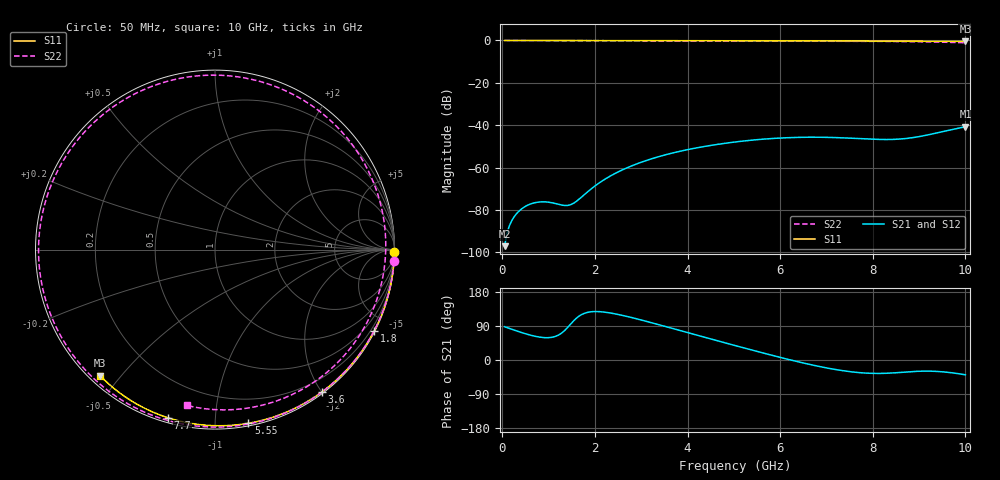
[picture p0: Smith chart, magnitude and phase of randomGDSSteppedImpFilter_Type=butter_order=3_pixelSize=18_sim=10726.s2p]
! freq	dB(S11)	phase(S11)	dB(S12)	phase(S12)
!  dB(S21)	phase(S21)	dB(S22)	phase(S22)
!S-par simulation data
#  GHz  S  DB  R 50
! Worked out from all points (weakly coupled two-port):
!   200 points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, 50 MHz to 10 GHz, reference 50 ohm
!   highest |S21| = -40.73 dB at 10 GHz (marker M1); lowest = -97.1 dB at 50 MHz (marker M2)
!   lowest |S11| = -0.4 dB at 10 GHz (marker M3), VSWR 39.29, Z = 1.52 - j22.1 ohm
!   |S11| at or under -10 dB: nowhere
!   |S22| runs from -1.1 to 0.0 dB; largest |S21 - S12| = 0
!   S11 on the Smith chart (normalised r, x): 50 MHz: open; 1.8 GHz: 0.04, -4.15; 3.6 GHz: 0.02, -2.01; 5.55 GHz: 0.02, -1.21; 7.7 GHz: 0.02, -0.76; 10 GHz: 0.03, -0.44
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0.05  -0.00 -0.8  -97.10 87.8  -97.10 87.8  -0.00 -3.7
0.45  -0.01 -6.8  -78.99 71.1  -78.99 71.1  -0.05 -32.9
0.9  -0.02 -13.7  -76.18 59.1  -76.18 59.1  -0.08 -63.5
1.4  -0.03 -21.2  -77.89 84.5  -77.89 84.5  -0.10 -93.5
1.75  -0.03 -26.4  -73.19 122.0  -73.19 122.0  -0.11 -111.9
1.8  -0.03 -27.1  -72.24 124.3  -72.24 124.3  -0.11 -114.4
2.15  -0.04 -32.2  -66.41 127.1  -66.41 127.1  -0.12 -130.7
2.55  -0.05 -38.1  -61.53 118.9  -61.53 118.9  -0.13 -147.7
3.4  -0.07 -50.2  -54.71 92.5  -54.71 92.5  -0.15 -179.6
3.6  -0.07 -53.0  -53.54 85.8  -53.54 85.8  -0.15 173.4
4.3  -0.09 -62.6  -50.29 62.2  -50.29 62.2  -0.17 149.7
5.05  -0.11 -72.6  -47.86 37.3  -47.86 37.3  -0.20 124.5
5.55  -0.13 -79.1  -46.74 21.1  -46.74 21.1  -0.22 107.4
6.15  -0.15 -86.7  -45.91 2.3  -45.91 2.3  -0.25 85.9
6.7  -0.18 -93.6  -45.67 -13.4  -45.67 -13.4  -0.28 65.1
7.2  -0.21 -99.7  -45.85 -25.2  -45.85 -25.2  -0.31 45.0
7.7  -0.24 -105.7  -46.32 -33.2  -46.32 -33.2  -0.36 23.6
8.35  -0.29 -113.3  -46.75 -34.7  -46.75 -34.7  -0.46 -6.4
8.8  -0.32 -118.5  -46.07 -31.0  -46.07 -31.0  -0.56 -29.0
9.3  -0.37 -124.3  -44.07 -29.7  -44.07 -29.7  -0.73 -56.3
9.65  -0.41 -128.3  -42.36 -32.9  -42.36 -32.9  -0.89 -77.3
10  -0.44 -132.3  -40.73 -39.1  -40.73 -39.1  -1.09 -100.3
